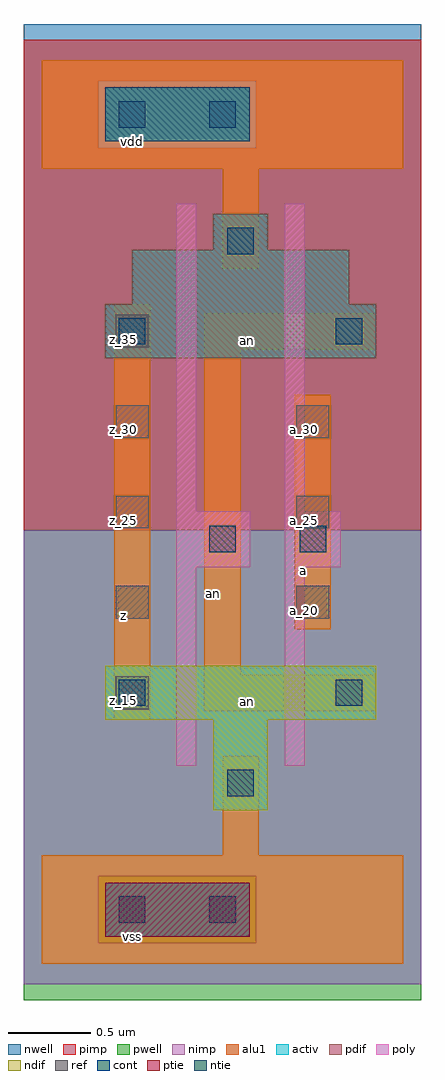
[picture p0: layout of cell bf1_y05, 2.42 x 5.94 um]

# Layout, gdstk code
import gdstk
lib = gdstk.Library(unit=1e-6, precision=2.5e-09)
def R(c, l, rs):  # rectangles x0, y0, x1, y1
    for r in rs: c.add(gdstk.rectangle(r[:2], r[2:], *l))
def A(c, l, x, y, w, h, nx, ny, dx, dy):  # array of equal rectangles
    R(c, l, [(x+i*dx, y+j*dy, x+i*dx+w, y+j*dy+h) for i in range(nx) for j in range(ny)])
ndif = (3, 0)
pdif = (4, 0)
ntie = (5, 0)
ptie = (6, 0)
ref = (24, 0)
cont = (25, 0)
pwell = (41, 0)
nwell = (42, 0)
activ = (43, 0)
pimp = (44, 0)
nimp = (45, 0)
poly = (46, 0)
alu1 = (49, 0)

bf1_y05 = lib.new_cell('bf1_y05')
R(bf1_y05, ndif, [(1.045,0.935,1.375,1.485), (0.385,1.485,2.035,1.815)])
R(bf1_y05, pdif, [(0.385,3.685,2.035,4.015), (0.55,4.015,1.87,4.345), (1.045,4.345,1.375,4.565)])
R(bf1_y05, ntie, [(0.385,5.005,1.265,5.335)])
R(bf1_y05, ptie, [(0.385,0.165,1.265,0.495)])
A(bf1_y05, ref, 0.45, 1.55, 0.2, 0.2, 1, 5, 0, 0.55)
A(bf1_y05, ref, 1.55, 2.1, 0.2, 0.2, 1, 3, 0, 0.55)
R(bf1_y05, cont, [(0.47,0.25,0.63,0.41), (1.02,0.25,1.18,0.41), (1.13,1.02,1.29,1.18), (0.47,1.57,0.63,1.73), (1.79,1.57,1.95,1.73), (1.02,2.505,1.18,2.665), (1.57,2.505,1.73,2.665), (0.47,3.77,0.63,3.93), (1.79,3.77,1.95,3.93), (1.13,4.32,1.29,4.48), (0.47,5.09,0.63,5.25), (1.02,5.09,1.18,5.25)])
R(bf1_y05, pwell, [(-0.11,-0.22,2.31,2.64)])
R(bf1_y05, nwell, [(-0.11,2.64,2.31,5.72)])
R(bf1_y05, activ, [(0.385,0.165,1.265,0.495), (1.045,0.935,1.375,1.485), (0.385,1.485,2.035,1.815), (0.385,3.685,2.035,4.015), (0.55,4.015,1.87,4.345), (1.045,4.345,1.375,4.565), (0.385,5.005,1.265,5.335)])
R(bf1_y05, pimp, [(0.345,0.125,1.305,0.535), (-0.11,2.64,2.31,4.965), (-0.11,4.965,0.345,5.375), (1.305,4.965,2.31,5.375), (-0.11,5.375,2.31,5.625)])
R(bf1_y05, nimp, [(-0.11,-0.125,2.31,0.125), (-0.11,0.125,0.345,0.535), (1.305,0.125,2.31,0.535), (-0.11,0.535,2.31,2.64), (0.345,4.965,1.305,5.375)])
R(bf1_y05, poly, [(0.82,1.205,0.94,2.415), (1.48,1.205,1.6,2.415), (0.82,2.415,1.27,2.755), (1.48,2.415,1.82,2.755), (0.82,2.755,0.94,4.625), (1.48,2.755,1.6,4.625)])
R(bf1_y05, alu1, [(0,0,2.2,0.66), (1.1,0.66,1.32,1.265), (0.44,1.485,0.66,4.015), (0.99,1.54,2.035,1.76), (0.99,1.76,1.21,3.74), (1.54,2.035,1.76,3.465), (0.99,3.74,2.035,3.96), (1.1,4.235,1.32,4.84), (0,4.84,2.2,5.5)])
bf1_y05.add(gdstk.Label('vss', (0.55,0.165), layer=49, texttype=0))
bf1_y05.add(gdstk.Label('an', (1.25,1.595), layer=49, texttype=0))
bf1_y05.add(gdstk.Label('a', (1.595,2.3925), layer=49, texttype=0))
bf1_y05.add(gdstk.Label('an', (1.045,2.255), layer=49, texttype=0))
bf1_y05.add(gdstk.Label('an', (1.25,3.795), layer=49, texttype=0))
bf1_y05.add(gdstk.Label('z', (0.495,2.1175), layer=49, texttype=0))
bf1_y05.add(gdstk.Label('vdd', (0.55,5.005), layer=49, texttype=0))
bf1_y05.add(gdstk.Label('a_25', (1.6,2.7), layer=24, texttype=0))
bf1_y05.add(gdstk.Label('a_30', (1.6,3.25), layer=24, texttype=0))
bf1_y05.add(gdstk.Label('a_20', (1.6,2.15), layer=24, texttype=0))
bf1_y05.add(gdstk.Label('z_25', (0.5,2.7), layer=24, texttype=0))
bf1_y05.add(gdstk.Label('z_20', (0.5,2.15), layer=24, texttype=0))
bf1_y05.add(gdstk.Label('z_30', (0.5,3.25), layer=24, texttype=0))
bf1_y05.add(gdstk.Label('z_35', (0.5,3.8), layer=24, texttype=0))
bf1_y05.add(gdstk.Label('z_15', (0.5,1.6), layer=24, texttype=0))

lib.write_gds('bf1_y05.gds')
